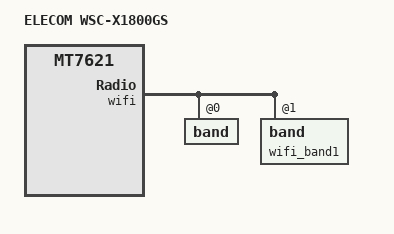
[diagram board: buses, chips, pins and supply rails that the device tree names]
// SPDX-License-Identifier: GPL-2.0-or-later OR MIT

#include "mt7621_elecom_wxc-x1800gsx.dtsi"

/ {
	compatible = "elecom,wsc-x1800gs", "mediatek,mt7621-soc";
	model = "ELECOM WSC-X1800GS";

	aliases {
		label-mac-device = &wifi_band1;
	};
};

&state_default {
	gpio {
		groups = "uart3", "uart2", "jtag", "wdt";
		function = "gpio";
	};
};

&wifi {
	band@0 {
		reg = <0>;
		nvmem-cells = <&macaddr_factory_4 (-1)>;
		nvmem-cell-names = "mac-address";
	};

	wifi_band1: band@1 {
		reg = <1>;
		nvmem-cells = <&macaddr_factory_4 0>;
		nvmem-cell-names = "mac-address";
	};
};
